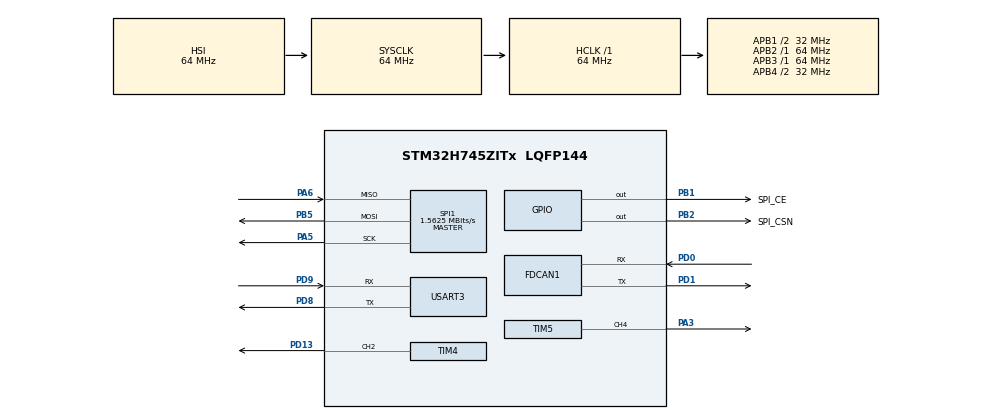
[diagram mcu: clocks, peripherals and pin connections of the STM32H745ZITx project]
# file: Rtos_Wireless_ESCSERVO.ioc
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CortexM4.IPs=BDMA,CORTEX_M4\:I,DEBUG,DMA,FATFS_M4\:I,FREERTOS_M4\:I,GPIO,IWDG2\:I,MDMA,NVIC2\:I,OPENAMP_M4\:I,PDM2PCM_M4\:I,PWR,RCC,RESMGR_UTILITY,SYS_M4\:I,USB_DEVICE_M4\:I,USB_HOST_M4\:I,VREFBUF,WWDG2\:I,TIM6\:I,FDCAN1
CortexM7.IPs=BDMA\:I,CORTEX_M7\:I,DEBUG\:I,DMA\:I,FATFS_M7\:I,FREERTOS_M7\:I,GPIO\:I,IWDG1\:I,MDMA\:I,NVIC1\:I,OPENAMP_M7\:I,PDM2PCM_M7\:I,PWR\:I,RCC\:I,RESMGR_UTILITY\:I,SYS\:I,USB_DEVICE_M7\:I,USB_HOST_M7\:I,VREFBUF\:I,WWDG1\:I,TIM7\:I,TIM17\:I,USART3\:I,SPI1\:I,FDCAN1\:I,TIM4\:I,TIM5\:I
CortexM7.Pins=PB1,PB2
FDCAN1.CalculateBaudRateNominal=625000
FDCAN1.CalculateTimeBitNominal=1600
FDCAN1.CalculateTimeQuantumNominal=40.0
FDCAN1.NominalPrescaler=2
FDCAN1.NominalSyncJumpWidth=8
FDCAN1.NominalTimeSeg1=0x1F
FDCAN1.NominalTimeSeg2=8
FDCAN1.ProtocolException=ENABLE
FDCAN1.RxFifo0ElmtsNbr=1
FDCAN1.StdFiltersNbr=1
FDCAN1.TxFifoQueueElmtsNbr=1
FREERTOS_M4.Tasks01=defaultTask,24,128,StartDefaultTask,Default,NULL,Dynamic,NULL,NULL
FREERTOS_M4.configUSE_NEWLIB_REENTRANT=1
FREERTOS_M7.Tasks01=defaultTask,24,128,StartDefaultTask,Default,NULL,Dynamic,NULL,NULL
FREERTOS_M7.configUSE_NEWLIB_REENTRANT=1
Mcu.Family=STM32H7
Mcu.Name=STM32H745ZITx
Mcu.Package=LQFP144
NVIC1.PriorityGroup=NVIC_PRIORITYGROUP_4
NVIC1.TIM7_IRQn=true\:15\:0\:false\:false\:true\:false\:false\:true\:true
NVIC1.TimeBase=TIM7_IRQn
NVIC1.TimeBaseIP=TIM7
NVIC2.PriorityGroup=NVIC_PRIORITYGROUP_4
NVIC2.TIM6_DAC_IRQn=true\:15\:0\:false\:false\:true\:false\:false\:true\:true
NVIC2.TimeBase=TIM6_DAC_IRQn
NVIC2.TimeBaseIP=TIM6
PA13\ (JTMS/SWDIO).Mode=Serial_Wire
PA13\ (JTMS/SWDIO).PinAttribute=CortexM7
PA13\ (JTMS/SWDIO).Signal=DEBUG_JTMS-SWDIO
PA14\ (JTCK/SWCLK).Mode=Serial_Wire
PA14\ (JTCK/SWCLK).PinAttribute=CortexM7
PA14\ (JTCK/SWCLK).Signal=DEBUG_JTCK-SWCLK
PA3.PinAttribute=CortexM7
PA3.Signal=S_TIM5_CH4
PA5.Mode=Full_Duplex_Master
PA5.PinAttribute=CortexM7
PA5.Signal=SPI1_SCK
PA6.Mode=Full_Duplex_Master
PA6.PinAttribute=CortexM7
PA6.Signal=SPI1_MISO
PB1.GPIO_Label=SPI_CE
PB1.PinAttribute=CortexM7
PB1.Signal=GPIO_Output
PB2.GPIO_Label=SPI_CSN
PB2.PinAttribute=CortexM7
PB2.Signal=GPIO_Output
PB5.Mode=Full_Duplex_Master
PB5.PinAttribute=CortexM7
PB5.Signal=SPI1_MOSI
PC14-OSC32_IN\ (OSC32_IN).Mode=LSE-External-Oscillator
PC14-OSC32_IN\ (OSC32_IN).PinAttribute=CortexM7
PC14-OSC32_IN\ (OSC32_IN).Signal=RCC_OSC32_IN
PC15-OSC32_OUT\ (OSC32_OUT).Mode=LSE-External-Oscillator
PC15-OSC32_OUT\ (OSC32_OUT).PinAttribute=CortexM7
PC15-OSC32_OUT\ (OSC32_OUT).Signal=RCC_OSC32_OUT
PD0.Mode=FDCAN_Activate
PD0.PinAttribute=CortexM7
PD0.Signal=FDCAN1_RX
PD1.Mode=FDCAN_Activate
PD1.PinAttribute=CortexM7
PD1.Signal=FDCAN1_TX
PD13.PinAttribute=CortexM7
PD13.Signal=S_TIM4_CH2
PD8.Mode=Asynchronous
PD8.PinAttribute=CortexM7
PD8.Signal=USART3_TX
PD9.Mode=Asynchronous
PD9.PinAttribute=CortexM7
PD9.Signal=USART3_RX
PH0-OSC_IN\ (PH0).Mode=HSE-External-Clock-Source
PH0-OSC_IN\ (PH0).PinAttribute=CortexM7
PH0-OSC_IN\ (PH0).Signal=RCC_OSC_IN
ProjectManager.HeapSize=M4-0x200,M7-0x200
ProjectManager.StackSize=M4-0x400,M7-0x400
ProjectManager.TargetToolchain=STM32CubeIDE
RCC.ADCFreq_Value=129000000
RCC.APB1Freq_Value=32000000
RCC.APB2Freq_Value=64000000
RCC.APB3Freq_Value=64000000
RCC.APB4Freq_Value=32000000
RCC.CortexFreq_Value=64000000
RCC.D2PPRE1=RCC_APB1_DIV2
RCC.D3PPRE=RCC_APB4_DIV2
RCC.DIVM1=4
RCC.DIVN1=9
RCC.DIVQ1=3
RCC.HCLKFreq_Value=64000000
RCC.PLLFRACN=3072
RCC.PWR_Regulator_Voltage_Scale=PWR_REGULATOR_VOLTAGE_SCALE0
RCC.SYSCLKFreq_VALUE=64000000
RCC.USBFreq_Value=50000000
SH.S_TIM4_CH2.0=TIM4_CH2,PWM Generation2 CH2
SH.S_TIM5_CH4.0=TIM5_CH4,PWM Generation4 CH4
SPI1.BaudRatePrescaler=SPI_BAUDRATEPRESCALER_32
SPI1.CalculateBaudRate=1.5625 MBits/s
SPI1.DataSize=SPI_DATASIZE_8BIT
SPI1.Direction=SPI_DIRECTION_2LINES
SPI1.Mode=SPI_MODE_MASTER
SPI1.VirtualType=VM_MASTER
SYS.userName=SYS_M7
TIM17.Prescaler=65535
TIM4.AutoReloadPreload=TIM_AUTORELOAD_PRELOAD_ENABLE
TIM4.Channel-PWM\ Generation2\ CH2=TIM_CHANNEL_2
TIM4.Prescaler=19
TIM5.AutoReloadPreload=TIM_AUTORELOAD_PRELOAD_ENABLE
TIM5.Channel-PWM\ Generation4\ CH4=TIM_CHANNEL_4
TIM5.Period=65535
TIM5.Prescaler=19
USART3.VirtualMode-Asynchronous=VM_ASYNC
VP_FREERTOS_M4_VS_CMSIS_V2.Mode=CMSIS_V2
VP_FREERTOS_M7_VS_CMSIS_V2.Mode=CMSIS_V2
VP_SYS_M4_VS_tim6.Mode=TIM6
VP_SYS_VS_tim7.Mode=TIM7
VP_TIM17_VS_ClockSourceINT.Mode=Enable_Timer
VP_TIM4_VS_ClockSourceINT.Mode=Internal
VP_TIM5_VS_ClockSourceINT.Mode=Internal
board=custom

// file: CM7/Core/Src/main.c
/* USER CODE BEGIN Header */
/**
  ******************************************************************************
  * @file           : main.c
  * @brief          : Main program body
  ******************************************************************************
  * @attention
  *
  * Copyright (c) 2023 STMicroelectronics.
  * All rights reserved.
  *
  * This software is licensed under terms that can be found in the LICENSE file
  * in the root directory of this software component.
  * If no LICENSE file comes with this software, it is provided AS-IS.
  *
  ******************************************************************************
  */
/* USER CODE END Header */
#include "main.h"
#include "cmsis_os.h"
#include "myprintf.h"
#include "MY_NRF24.h"
#include "nRF24L01.h"
#include "string.h"
#include "math.h"

/* USER CODE BEGIN PD */

#ifndef HSEM_ID_0
#define HSEM_ID_0 (0U) /* HW semaphore 0*/
#endif
/* USER CODE END PD */

double tOnN = 0.0015; //Neutral
double tONB = 0.001;
double period = 0.02;	//Period

FDCAN_HandleTypeDef hfdcan1;

SPI_HandleTypeDef hspi1;

TIM_HandleTypeDef htim4;
TIM_HandleTypeDef htim5;
TIM_HandleTypeDef htim17;

UART_HandleTypeDef huart3;

FDCAN_FilterTypeDef sFilterConfig;
FDCAN_TxHeaderTypeDef TxHeader;
FDCAN_RxHeaderTypeDef RxHeader;

uint8_t RxData[8];
uint8_t TxData[] = {0xFF,0xFF,0xFF,0x00,0x00,0xFF,0xFF,0xFF};
uint8_t TxData2[] = {0xFF,0xFF,0xFF,0x00,0x11,0xFF,0xFF,0xFF};
//uint8_t TxData3[] = {0xFF,0xFF,0xFF,0x00,0x4B,0xFF,0xFF,0xFF};

uint8_t TxData4[] = {0x00,0x01,0xFF,0x00,0x01,0xFF,0xFF,0xFF};
uint8_t TxData5[] = {0x00,0x00,0xFF,0x00,0x01,0xFF,0xFF,0xFF};

//uint8_t TxData4[] = {0x01,0x01,0xFF,0x01,0x00,0xFF,0xFF,0xFF};
//uint8_t TxData5[] = {0x00,0x00,0xFF,0x00,0x01,0xFF,0xFF,0xFF};

/* Definitions for defaultTask */
osThreadId_t defaultTaskHandle;
const osThreadAttr_t defaultTask_attributes = {
  .name = "defaultTask",
  .stack_size = 128 * 4,
  .priority = (osPriority_t) osPriorityNormal,
};

osThreadId_t wirelessTaskHandle;
const osThreadAttr_t wirelessTask_attributes = {
		.name = "wirelessTask",
		.stack_size = 128 *8,
		.priority = (osPriority_t) osPriorityNormal,
};

osThreadId_t servoTaskHandle;
const osThreadAttr_t servoTask_attributes = {
		.name = "servoTask",
		.stack_size = 128*4,
		.priority = (osPriority_t) osPriorityNormal,
};

osThreadId_t escTaskHandle;
const osThreadAttr_t escTask_attributes = {
		.name = "escTask",
		.stack_size = 128*4,
		.priority = (osPriority_t) osPriorityNormal,
};

osThreadId_t canTaskHandle;
const osThreadAttr_t canTask_attributes = {
		.name = "canTask",
		.stack_size = 128*8,
		.priority = (osPriority_t) osPriorityHigh,
};

osThreadId_t movimientoCamaraTaskHandle;
const osThreadAttr_t movimientoCamaraTask_attributes = {
		.name = "movimientoCamaraTask",
		.stack_size = 128*4,
		.priority = (osPriority) osPriorityLow,
};

void SystemClock_Config(void);
static void MX_GPIO_Init(void);
static void MX_TIM17_Init(void);
static void MX_USART3_UART_Init(void);
static void MX_SPI1_Init(void);
static void MX_FDCAN1_Init(void);
static void MX_TIM4_Init(void);
static void MX_TIM5_Init(void);
void StartDefaultTask(void *argument);
void wirelessTask(void *argument);
void servoTask(void *argument);
void escTask(void *argument);
void canTask(void *argument);
void movimientoCamaraTask(void *argument);

/* USER CODE BEGIN 0 */
uint64_t RxpipeAddrs = 0x11223344AA;
uint8_t myRxData[100];
uint16_t flag = 0;
/* USER CODE END 0 */

int main(void)
{
/* USER CODE BEGIN Boot_Mode_Sequence_0 */
  int32_t timeout;
/* USER CODE END Boot_Mode_Sequence_0 */

/* USER CODE BEGIN Boot_Mode_Sequence_1 */
  /* Wait until CPU2 boots and enters in stop mode or timeout*/
  timeout = 0xFFFF;
  while((__HAL_RCC_GET_FLAG(RCC_FLAG_D2CKRDY) != RESET) && (timeout-- > 0));
  if ( timeout < 0 )
  {
  Error_Handler();
  }
/* USER CODE END Boot_Mode_Sequence_1 */
  /* MCU Configuration--------------------------------------------------------*/

  /* Reset of all peripherals, Initializes the Flash interface and the Systick. */
  HAL_Init();

  /* Configure the system clock */
  SystemClock_Config();
/* USER CODE BEGIN Boot_Mode_Sequence_2 */
/* When system initialization is finished, Cortex-M7 will release Cortex-M4 by means of
HSEM notification */
/*HW semaphore Clock enable*/
__HAL_RCC_HSEM_CLK_ENABLE();
/*Take HSEM */
HAL_HSEM_FastTake(HSEM_ID_0);
/*Release HSEM in order to notify the CPU2(CM4)*/
HAL_HSEM_Release(HSEM_ID_0,0);
/* wait until CPU2 wakes up from stop mode */
timeout = 0xFFFF;
while((__HAL_RCC_GET_FLAG(RCC_FLAG_D2CKRDY) == RESET) && (timeout-- > 0));
if ( timeout < 0 )
{
Error_Handler();
}
/* USER CODE END Boot_Mode_Sequence_2 */

  /* Initialize all configured peripherals */
  MX_GPIO_Init();
  MX_TIM17_Init();
  MX_USART3_UART_Init();
  MX_SPI1_Init();
  MX_FDCAN1_Init();
  MX_TIM4_Init();
  MX_TIM5_Init();
  /* USER CODE BEGIN 2 */
  HAL_TIM_PWM_Start(&htim4, TIM_CHANNEL_2);
  HAL_TIM_PWM_Start(&htim5, TIM_CHANNEL_4);

  /* Configuración del Wireless */
  NRF24_begin(GPIOB, GPIO_PIN_2, GPIO_PIN_1, hspi1); // utilizar pines declarados para CE y CSN
  nrf24_DebugUART_Init(huart3);
  NRF24_setAutoAck(false);
  NRF24_setChannel(52);
  NRF24_setPayloadSize(32);
  NRF24_openReadingPipe(0, RxpipeAddrs);
  NRF24_enableDynamicPayloads();
  printRadioSettings();
  NRF24_startListening();
  /* Termina Configuración del Wireless */

//  int16_t accel_dataX;
//  int16_t accel_dataY;
//  int16_t accel_dataZ;
//  int16_t temp;
//  int16_t gyro_dataX;
//  int16_t gyro_dataY;
//  int16_t gyro_dataZ;
//  uint8_t imuA_data[14];
//  uint8_t imuT_data[14];
//  uint8_t imuG_data[14];
//
//  mpu9250_write_reg(28, 0x08);
  /* USER CODE END 2 */

  /* Init scheduler */
  osKernelInitialize();

  /* Create the thread(s) */
  /* creation of defaultTask */
  defaultTaskHandle = osThreadNew(StartDefaultTask, NULL, &defaultTask_attributes);

  /* USER CODE BEGIN RTOS_THREADS */
  /* add threads, ... */
  wirelessTaskHandle = osThreadNew(wirelessTask, NULL, &wirelessTask_attributes);
  //servoTaskHandle = osThreadNew(servoTask,NULL, &servoTask_attributes);
  escTaskHandle = osThreadNew(escTask,NULL, &escTask_attributes);
  //canTaskHandle = osThreadNew(canTask,NULL, &canTask_attributes);
  movimientoCamaraTaskHandle = osThreadNew(movimientoCamaraTask,NULL, &movimientoCamaraTask_attributes);
  //imuTaskHandle = osThreadNew(imuTask,NULL, &imuTask_attributes);
  /* USER CODE END RTOS_THREADS */

  /* Start scheduler */
  osKernelStart();

  /* We should never get here as control is now taken by the scheduler */
  /* Infinite loop */
  while (1)
  {

  }
}

void SystemClock_Config(void)
{
  RCC_OscInitTypeDef RCC_OscInitStruct = {0};
  RCC_ClkInitTypeDef RCC_ClkInitStruct = {0};

  /** Supply configuration update enable
  */
  HAL_PWREx_ConfigSupply(PWR_DIRECT_SMPS_SUPPLY);

  /** Configure the main internal regulator output voltage
  */
  __HAL_PWR_VOLTAGESCALING_CONFIG(PWR_REGULATOR_VOLTAGE_SCALE0);

  while(!__HAL_PWR_GET_FLAG(PWR_FLAG_VOSRDY)) {}

  /** Initializes the RCC Oscillators according to the specified parameters
  * in the RCC_OscInitTypeDef structure.
  */
  RCC_OscInitStruct.OscillatorType = RCC_OSCILLATORTYPE_HSI;
  RCC_OscInitStruct.HSIState = RCC_HSI_DIV1;
  RCC_OscInitStruct.HSICalibrationValue = RCC_HSICALIBRATION_DEFAULT;
  RCC_OscInitStruct.PLL.PLLState = RCC_PLL_ON;
  RCC_OscInitStruct.PLL.PLLSource = RCC_PLLSOURCE_HSI;
  RCC_OscInitStruct.PLL.PLLM = 4;
  RCC_OscInitStruct.PLL.PLLN = 9;
  RCC_OscInitStruct.PLL.PLLP = 2;
  RCC_OscInitStruct.PLL.PLLQ = 3;
  RCC_OscInitStruct.PLL.PLLR = 2;
  RCC_OscInitStruct.PLL.PLLRGE = RCC_PLL1VCIRANGE_3;
  RCC_OscInitStruct.PLL.PLLVCOSEL = RCC_PLL1VCOMEDIUM;
  RCC_OscInitStruct.PLL.PLLFRACN = 3072;
  if (HAL_RCC_OscConfig(&RCC_OscInitStruct) != HAL_OK)
  {
    Error_Handler();
  }

  /** Initializes the CPU, AHB and APB buses clocks
  */
  RCC_ClkInitStruct.ClockType = RCC_CLOCKTYPE_HCLK|RCC_CLOCKTYPE_SYSCLK
                              |RCC_CLOCKTYPE_PCLK1|RCC_CLOCKTYPE_PCLK2
                              |RCC_CLOCKTYPE_D3PCLK1|RCC_CLOCKTYPE_D1PCLK1;
  RCC_ClkInitStruct.SYSCLKSource = RCC_SYSCLKSOURCE_HSI;
  RCC_ClkInitStruct.SYSCLKDivider = RCC_SYSCLK_DIV1;
  RCC_ClkInitStruct.AHBCLKDivider = RCC_HCLK_DIV1;
  RCC_ClkInitStruct.APB3CLKDivider = RCC_APB3_DIV1;
  RCC_ClkInitStruct.APB1CLKDivider = RCC_APB1_DIV2;
  RCC_ClkInitStruct.APB2CLKDivider = RCC_APB2_DIV1;
  RCC_ClkInitStruct.APB4CLKDivider = RCC_APB4_DIV2;

  if (HAL_RCC_ClockConfig(&RCC_ClkInitStruct, FLASH_LATENCY_0) != HAL_OK)
  {
    Error_Handler();
  }
}

static void MX_FDCAN1_Init(void)
{

  hfdcan1.Instance = FDCAN1;
  hfdcan1.Init.FrameFormat = FDCAN_FRAME_CLASSIC;
  hfdcan1.Init.Mode = FDCAN_MODE_NORMAL;
  hfdcan1.Init.AutoRetransmission = DISABLE;
  hfdcan1.Init.TransmitPause = DISABLE;
  hfdcan1.Init.ProtocolException = ENABLE;
  hfdcan1.Init.NominalPrescaler = 2;
  hfdcan1.Init.NominalSyncJumpWidth = 8;
  hfdcan1.Init.NominalTimeSeg1 = 0x1F;
  hfdcan1.Init.NominalTimeSeg2 = 8;
  hfdcan1.Init.DataPrescaler = 1;
  hfdcan1.Init.DataSyncJumpWidth = 1;
  hfdcan1.Init.DataTimeSeg1 = 1;
  hfdcan1.Init.DataTimeSeg2 = 1;
  hfdcan1.Init.MessageRAMOffset = 0;
  hfdcan1.Init.StdFiltersNbr = 1;
  hfdcan1.Init.ExtFiltersNbr = 0;
  hfdcan1.Init.RxFifo0ElmtsNbr = 1;
  hfdcan1.Init.RxFifo0ElmtSize = FDCAN_DATA_BYTES_8;
  hfdcan1.Init.RxFifo1ElmtsNbr = 0;
  hfdcan1.Init.RxFifo1ElmtSize = FDCAN_DATA_BYTES_8;
  hfdcan1.Init.RxBuffersNbr = 0;
  hfdcan1.Init.RxBufferSize = FDCAN_DATA_BYTES_8;
  hfdcan1.Init.TxEventsNbr = 0;
  hfdcan1.Init.TxBuffersNbr = 0;
  hfdcan1.Init.TxFifoQueueElmtsNbr = 1;
  hfdcan1.Init.TxFifoQueueMode = FDCAN_TX_FIFO_OPERATION;
  hfdcan1.Init.TxElmtSize = FDCAN_DATA_BYTES_8;
  if (HAL_FDCAN_Init(&hfdcan1) != HAL_OK)
  {
    Error_Handler();
  }

}

static void MX_SPI1_Init(void)
{

  /* SPI1 parameter configuration*/
  hspi1.Instance = SPI1;
  hspi1.Init.Mode = SPI_MODE_MASTER;
  hspi1.Init.Direction = SPI_DIRECTION_2LINES;
  hspi1.Init.DataSize = SPI_DATASIZE_8BIT;
  hspi1.Init.CLKPolarity = SPI_POLARITY_LOW;
  hspi1.Init.CLKPhase = SPI_PHASE_1EDGE;
  hspi1.Init.NSS = SPI_NSS_SOFT;
  hspi1.Init.BaudRatePrescaler = SPI_BAUDRATEPRESCALER_32;
  hspi1.Init.FirstBit = SPI_FIRSTBIT_MSB;
  hspi1.Init.TIMode = SPI_TIMODE_DISABLE;
  hspi1.Init.CRCCalculation = SPI_CRCCALCULATION_DISABLE;
  hspi1.Init.CRCPolynomial = 0x0;
  hspi1.Init.NSSPMode = SPI_NSS_PULSE_ENABLE;
  hspi1.Init.NSSPolarity = SPI_NSS_POLARITY_LOW;
  hspi1.Init.FifoThreshold = SPI_FIFO_THRESHOLD_01DATA;
  hspi1.Init.TxCRCInitializationPattern = SPI_CRC_INITIALIZATION_ALL_ZERO_PATTERN;
  hspi1.Init.RxCRCInitializationPattern = SPI_CRC_INITIALIZATION_ALL_ZERO_PATTERN;
  hspi1.Init.MasterSSIdleness = SPI_MASTER_SS_IDLENESS_00CYCLE;
  hspi1.Init.MasterInterDataIdleness = SPI_MASTER_INTERDATA_IDLENESS_00CYCLE;
  hspi1.Init.MasterReceiverAutoSusp = SPI_MASTER_RX_AUTOSUSP_DISABLE;
  hspi1.Init.MasterKeepIOState = SPI_MASTER_KEEP_IO_STATE_DISABLE;
  hspi1.Init.IOSwap = SPI_IO_SWAP_DISABLE;
  if (HAL_SPI_Init(&hspi1) != HAL_OK)
  {
    Error_Handler();
  }

}

static void MX_TIM4_Init(void)
{

  TIM_ClockConfigTypeDef sClockSourceConfig = {0};
  TIM_MasterConfigTypeDef sMasterConfig = {0};
  TIM_OC_InitTypeDef sConfigOC = {0};

  htim4.Instance = TIM4;
  htim4.Init.Prescaler = 19;
  htim4.Init.CounterMode = TIM_COUNTERMODE_UP;
  htim4.Init.Period = 65535;
  htim4.Init.ClockDivision = TIM_CLOCKDIVISION_DIV1;
  htim4.Init.AutoReloadPreload = TIM_AUTORELOAD_PRELOAD_ENABLE;
  if (HAL_TIM_Base_Init(&htim4) != HAL_OK)
  {
    Error_Handler();
  }
  sClockSourceConfig.ClockSource = TIM_CLOCKSOURCE_INTERNAL;
  if (HAL_TIM_ConfigClockSource(&htim4, &sClockSourceConfig) != HAL_OK)
  {
    Error_Handler();
  }
  if (HAL_TIM_PWM_Init(&htim4) != HAL_OK)
  {
    Error_Handler();
  }
  sMasterConfig.MasterOutputTrigger = TIM_TRGO_RESET;
  sMasterConfig.MasterSlaveMode = TIM_MASTERSLAVEMODE_DISABLE;
  if (HAL_TIMEx_MasterConfigSynchronization(&htim4, &sMasterConfig) != HAL_OK)
  {
    Error_Handler();
  }
  sConfigOC.OCMode = TIM_OCMODE_PWM1;
  sConfigOC.Pulse = 0;
  sConfigOC.OCPolarity = TIM_OCPOLARITY_HIGH;
  sConfigOC.OCFastMode = TIM_OCFAST_DISABLE;
  if (HAL_TIM_PWM_ConfigChannel(&htim4, &sConfigOC, TIM_CHANNEL_2) != HAL_OK)
  {
    Error_Handler();
  }
  HAL_TIM_MspPostInit(&htim4);

}

static void MX_TIM5_Init(void)
{

  TIM_ClockConfigTypeDef sClockSourceConfig = {0};
  TIM_MasterConfigTypeDef sMasterConfig = {0};
  TIM_OC_InitTypeDef sConfigOC = {0};

  htim5.Instance = TIM5;
  htim5.Init.Prescaler = 19;
  htim5.Init.CounterMode = TIM_COUNTERMODE_UP;
  htim5.Init.Period = 65535;
  htim5.Init.ClockDivision = TIM_CLOCKDIVISION_DIV1;
  htim5.Init.AutoReloadPreload = TIM_AUTORELOAD_PRELOAD_ENABLE;
  if (HAL_TIM_Base_Init(&htim5) != HAL_OK)
  {
    Error_Handler();
  }
  sClockSourceConfig.ClockSource = TIM_CLOCKSOURCE_INTERNAL;
  if (HAL_TIM_ConfigClockSource(&htim5, &sClockSourceConfig) != HAL_OK)
  {
    Error_Handler();
  }
  if (HAL_TIM_PWM_Init(&htim5) != HAL_OK)
  {
    Error_Handler();
  }
  sMasterConfig.MasterOutputTrigger = TIM_TRGO_RESET;
  sMasterConfig.MasterSlaveMode = TIM_MASTERSLAVEMODE_DISABLE;
  if (HAL_TIMEx_MasterConfigSynchronization(&htim5, &sMasterConfig) != HAL_OK)
  {
    Error_Handler();
  }
  sConfigOC.OCMode = TIM_OCMODE_PWM1;
  sConfigOC.Pulse = 0;
  sConfigOC.OCPolarity = TIM_OCPOLARITY_HIGH;
  sConfigOC.OCFastMode = TIM_OCFAST_DISABLE;
  if (HAL_TIM_PWM_ConfigChannel(&htim5, &sConfigOC, TIM_CHANNEL_4) != HAL_OK)
  {
    Error_Handler();
  }
  HAL_TIM_MspPostInit(&htim5);

}

static void MX_TIM17_Init(void)
{

  htim17.Instance = TIM17;
  htim17.Init.Prescaler = 65535;
  htim17.Init.CounterMode = TIM_COUNTERMODE_UP;
  htim17.Init.Period = 65535;
  htim17.Init.ClockDivision = TIM_CLOCKDIVISION_DIV1;
  htim17.Init.RepetitionCounter = 0;
  htim17.Init.AutoReloadPreload = TIM_AUTORELOAD_PRELOAD_DISABLE;
  if (HAL_TIM_Base_Init(&htim17) != HAL_OK)
  {
    Error_Handler();
  }

}

static void MX_USART3_UART_Init(void)
{

  huart3.Instance = USART3;
  huart3.Init.BaudRate = 115200;
  huart3.Init.WordLength = UART_WORDLENGTH_8B;
  huart3.Init.StopBits = UART_STOPBITS_1;
  huart3.Init.Parity = UART_PARITY_NONE;
  huart3.Init.Mode = UART_MODE_TX_RX;
  huart3.Init.HwFlowCtl = UART_HWCONTROL_NONE;
  huart3.Init.OverSampling = UART_OVERSAMPLING_16;
  huart3.Init.OneBitSampling = UART_ONE_BIT_SAMPLE_DISABLE;
  huart3.Init.ClockPrescaler = UART_PRESCALER_DIV1;
  huart3.AdvancedInit.AdvFeatureInit = UART_ADVFEATURE_NO_INIT;
  if (HAL_UART_Init(&huart3) != HAL_OK)
  {
    Error_Handler();
  }
  if (HAL_UARTEx_SetTxFifoThreshold(&huart3, UART_TXFIFO_THRESHOLD_1_8) != HAL_OK)
  {
    Error_Handler();
  }
  if (HAL_UARTEx_SetRxFifoThreshold(&huart3, UART_RXFIFO_THRESHOLD_1_8) != HAL_OK)
  {
    Error_Handler();
  }
  if (HAL_UARTEx_DisableFifoMode(&huart3) != HAL_OK)
  {
    Error_Handler();
  }

}

static void MX_GPIO_Init(void)
{
  GPIO_InitTypeDef GPIO_InitStruct = {0};

  /* GPIO Ports Clock Enable */
  __HAL_RCC_GPIOC_CLK_ENABLE();
  __HAL_RCC_GPIOH_CLK_ENABLE();
  __HAL_RCC_GPIOA_CLK_ENABLE();
  __HAL_RCC_GPIOB_CLK_ENABLE();
  __HAL_RCC_GPIOD_CLK_ENABLE();

  /*Configure GPIO pin Output Level */
  HAL_GPIO_WritePin(GPIOB, SPI_CE_Pin|SPI_CSN_Pin, GPIO_PIN_RESET);

  /*Configure GPIO pins : SPI_CE_Pin SPI_CSN_Pin */
  GPIO_InitStruct.Pin = SPI_CE_Pin|SPI_CSN_Pin;
  GPIO_InitStruct.Mode = GPIO_MODE_OUTPUT_PP;
  GPIO_InitStruct.Pull = GPIO_NOPULL;
  GPIO_InitStruct.Speed = GPIO_SPEED_FREQ_LOW;
  HAL_GPIO_Init(GPIOB, &GPIO_InitStruct);

}

void StartDefaultTask(void *argument)
{
  for(;;)
  {
    osDelay(1);
  }
}

void wirelessTask(void *argument){
	uint16_t x_position, y_position, degrees;
	printf("Empezando a Imprimir:\n\r");
	for(;;){
		if(NRF24_available()){
			NRF24_read(myRxData,32);
			myRxData[32] = '\r'; myRxData[32+1] = '\n';
			printf("Coordenadas: %d %d %d %d %d %d\r\n",myRxData[0],myRxData[1],myRxData[2],myRxData[3],myRxData[4],myRxData[5],myRxData[6]);
/*
			if (myRxData[0] == 1){
				x_position = (uint16_t)255 + myRxData[1];
			} else{
				x_position = myRxData[1];
			}
			if (myRxData[2] == 1){
				y_position = (uint16_t)255 + myRxData[3];
			} else{
				y_position = myRxData[3];
			}
			if (myRxData[4] == 1){
				degrees = (uint16_t)255 + myRxData[5];
			} else{
				degrees = myRxData[5];
			}

			flag = 1;
			printf("X: %d Y: %d Angle: %d\r\n", x_position, y_position, degrees);
		}
		*/
	osDelay(150);
	}
}
}

void servoTask(void *argument){
	double dutyCycle3=tONB/period;
	int32_t CH1_DC_IZQ = TIM2->ARR * dutyCycle3;

	uint32_t valor_ccr = 4500;
	__HAL_TIM_SET_COMPARE(&htim4, TIM_CHANNEL_2, valor_ccr);
	osDelay(2000);
	valor_ccr = 5500;
	__HAL_TIM_SET_COMPARE(&htim4, TIM_CHANNEL_2, valor_ccr);
	osDelay(2000);
	valor_ccr = 4500;
	__HAL_TIM_SET_COMPARE(&htim4, TIM_CHANNEL_2, valor_ccr);
	osDelay(2000);
	valor_ccr = CH1_DC_IZQ;
	__HAL_TIM_SET_COMPARE(&htim4, TIM_CHANNEL_2, valor_ccr);
	osDelay(2000);

}

void escTask(void *argument){
	for(;;){

		  double dutyCycle3=tONB/period;
		  int32_t CH1_DC_IZQ = TIM5->ARR * dutyCycle3;
		  //Seccion donde se controla el motor
		  double pulseWidth= 0.0015;
		  double ccr = 0;
		  ccr = (pulseWidth * htim5.Init.Period )/0.02;
		  htim5.Instance -> CCR4 = ccr;
		  osDelay(400) ;
		  double i=0.00001;
		  while(pulseWidth<0.00183){
			  ccr=(pulseWidth*htim5.Init.Period)/0.02;
			  htim5.Instance -> CCR4=ccr;
			  osDelay(30);
			  pulseWidth += i;
		  }
		  ccr = (pulseWidth * htim5.Init.Period)/0.02;
		  htim5.Instance-> CCR4 = ccr;
		  osDelay(100);
	}
}

void canTask(void *argument){
	for(;;){

		while (HAL_FDCAN_GetRxMessage(&hfdcan1, FDCAN_RX_FIFO0, &RxHeader, RxData) != HAL_OK);

		  	osDelay(10);
		  	printf("\n\rCAN ID: %lx", RxHeader.Identifier);

		  	printf(" [%X] ", ((unsigned int)RxHeader.DataLength & 0x0CFEF3A3) >> 16 );
		  	printf(" %02X %02X %02X %02X %02X %02X %02X %02X",RxData[0], RxData[1], RxData[2], RxData[3], RxData[4], RxData[5], RxData[6],RxData[7]);
		    osDelay(1000);
	}
}

void movimientoCamaraTask(void *argument){
	int actual_target = 0;
	uint32_t valor_ccr = 3900;
	__HAL_TIM_SET_COMPARE(&htim4, TIM_CHANNEL_2, valor_ccr);

	for(;;){
		float angulo_final;
		float angulo_error;

		uint32_t valor_pwm;

		// aqui se escriben las coordenadas de los targets
		float x_targets[] = {95, 198, 233, 135};
		float y_targets[] = {24, 56, 135, 165};

		// calcula y guarda el tamano de el array de los targets
		float len_x_target = sizeof(x_targets)/sizeof(x_targets[0]);

	    float x_actual = myRxData[1];
	    float y_actual = myRxData[3];

		// algoritmo para dirigir el carro con la camara
	    float adyacente = x_targets[actual_target] - x_actual; // calcula el cateto adyacente
		float opuesto = y_targets[actual_target] - y_actual; // calcula el cateto opuesto
		float angulo_actual = myRxData[5]; // convierte el angulo recibido a radianes
		float angulo_target0 = atan2(opuesto, adyacente) * 180 / 3.1416; // calculates the desired angle
		if (angulo_target0 < 0) angulo_target0 += 360; // shifts the range from -180-180 to 0-360
		float angulo_target = fmod(angulo_target0, 360); // ensures the angle is within 0-360 range

		// Assuming angulo_actual and angulo_target are float values representing angles in degrees
		if (angulo_target > 0 && angulo_target < 270 && angulo_actual > 0 && angulo_actual < 270){
			if (angulo_actual > angulo_target){
				angulo_final = angulo_actual - angulo_target;
				if (angulo_final <= 23){
					valor_pwm = 3900 - ((fabs(angulo_final)*1950)/23);
					valor_ccr = valor_pwm;
					__HAL_TIM_SET_COMPARE(&htim4, TIM_CHANNEL_2, valor_ccr);}
				else {
						valor_pwm = 1950;
						valor_ccr = valor_pwm;
						__HAL_TIM_SET_COMPARE(&htim4, TIM_CHANNEL_2, valor_ccr);
					}
				}
			if (angulo_actual < angulo_target){
				angulo_final = angulo_target - angulo_actual;
				if (angulo_final <= 23){
					valor_pwm = ((fabs(angulo_final) * 1350)/23)+3900;
					valor_ccr = valor_pwm;
					__HAL_TIM_SET_COMPARE(&htim4, TIM_CHANNEL_2, valor_ccr);}
				else {
						valor_pwm = 5250;
						valor_ccr = valor_pwm;
						__HAL_TIM_SET_COMPARE(&htim4, TIM_CHANNEL_2, valor_ccr);
					}
				}
			}
		else {
			if (angulo_actual > angulo_target){
				angulo_final = (360 - angulo_actual) + (90 - angulo_target);
				if (angulo_final <= 23){
					valor_pwm = 3900 - ((fabs(angulo_final)*1950)/23);
					valor_ccr = valor_pwm;
					__HAL_TIM_SET_COMPARE(&htim4, TIM_CHANNEL_2, valor_ccr);}
				else {
						valor_pwm = 1950;
						valor_ccr = valor_pwm;
						__HAL_TIM_SET_COMPARE(&htim4, TIM_CHANNEL_2, valor_ccr);
					}
				}
			if (angulo_actual < angulo_target){
				angulo_final = (360 - angulo_actual) + (90 - angulo_actual);
				if (angulo_final <= 23){
					valor_pwm = ((fabs(angulo_final) * 1350)/23)+3900;
					valor_ccr = valor_pwm;
					__HAL_TIM_SET_COMPARE(&htim4, TIM_CHANNEL_2, valor_ccr);}
				else {
						valor_pwm = 5250;
						valor_ccr = valor_pwm;
						__HAL_TIM_SET_COMPARE(&htim4, TIM_CHANNEL_2, valor_ccr);
					}
				}
			}
		if (x_actual < (x_targets[actual_target] + 15) && x_actual > (x_targets[actual_target] - 15) && y_actual < (y_targets[actual_target] + 15) && y_actual > (y_targets[actual_target] - 15) && actual_target < len_x_target){
					actual_target++;
				}

		}

	osDelay(100);

}

//void imuTask(void *argument){
//	  for(;;)
//	  {
//		  mpu9250_read_reg(59, imuA_data, sizeof(imuA_data));
//		  accel_dataX = ((int16_t)imuA_data[0]<<8) + imuA_data[1];
//		  accel_dataY = ((int16_t)imuA_data[2]<<8) + imuA_data[3];
//		  accel_dataZ = ((int16_t)imuA_data[4]<<8) + imuA_data[5];
//
//		  mpu9250_read_reg(65, imuT_data, sizeof(imuT_data));
//		  temp = ((int16_t)imuT_data[0]<<8) + imuT_data[1];
//
//
//		  mpu9250_read_reg(67, imuG_data, sizeof(imuG_data));
//		  gyro_dataX = ((int16_t)imuG_data[0]<<8) + imuG_data[1];
//		  gyro_dataY = ((int16_t)imuG_data[2]<<8) + imuG_data[3];
//		  gyro_dataZ = ((int16_t)imuG_data[4]<<8) + imuG_data[5];
//
//		  float Xaccel = (float)accel_dataX/8192.0;
//		  float Yaccel = (float)accel_dataY/8192.0;
//		  float Zaccel = (float)accel_dataZ/8192.0;
//
//		  float temperatura = (float)temp / 333.87 + 21;
//
//		  float Xgyro = (float)gyro_dataX * (250.0f/32768.0f);
//		  float Ygyro = (float)gyro_dataY * (250.0f/32768.0f);
//		  float Zgyro = (float)gyro_dataZ * (250.0f/32768.0f);
//		  printf("Acelerometro X: \n\r");
//		  printf("%.2f\r\n", Xaccel);
//		  printf("Acelerometro Y: \n\r");
//		  printf("%.2f\r\n", Yaccel);
//		  printf("Acelerometro Z: \n\r");
//		  printf("%.2f\r\n", Zaccel);
//		  printf("Temperatura: \n\r");
//		  printf("%.2f\r\n", temperatura);
//		  printf("Giroscopio X: \n\r");
//		  printf("%.2f\r\n", Xgyro);
//		  printf("Giroscopio Y: \n\r");
//		  printf("%.2f\r\n", Ygyro);
//		  printf("Giroscopio Z: \n\r");
//		  printf("%.2f\r\n", Zgyro);
//		  osDelay(1000);
//
//	    /* USER CODE END WHILE */
//
//	    /* USER CODE BEGIN 3 */
//	  }
//	  /* USER CODE END 3 */
//	}
//}

void HAL_TIM_PeriodElapsedCallback(TIM_HandleTypeDef *htim)
{
  if (htim->Instance == TIM7) {
    HAL_IncTick();
  }
}

void Error_Handler(void)
{
  __disable_irq();
  while (1)
  {
  }
}
